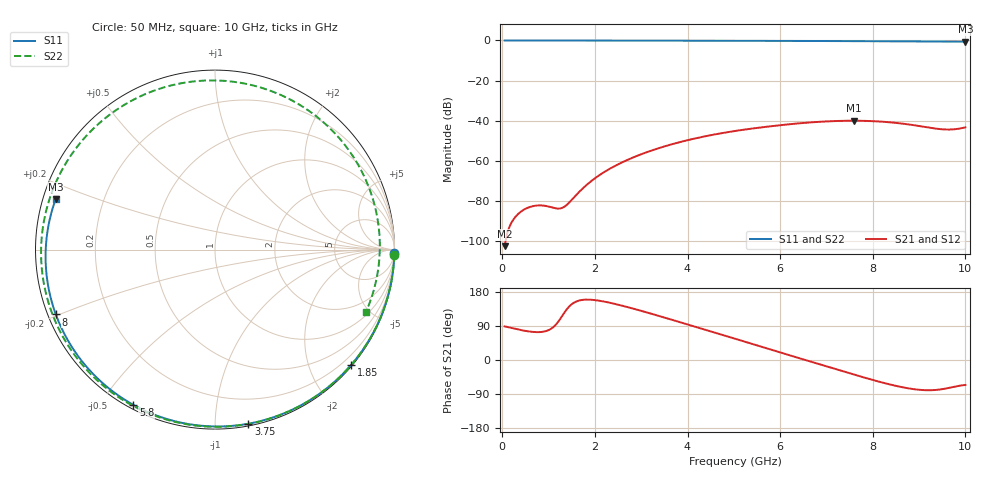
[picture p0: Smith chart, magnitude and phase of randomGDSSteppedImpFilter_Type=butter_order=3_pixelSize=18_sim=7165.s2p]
! freq	dB(S11)	phase(S11)	dB(S12)	phase(S12)
!  dB(S21)	phase(S21)	dB(S22)	phase(S22)
!S-par simulation data
#  GHz  S  DB  R 50
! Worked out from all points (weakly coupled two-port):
!   200 points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, 50 MHz to 10 GHz, reference 50 ohm
!   highest |S21| = -39.96 dB at 7.6 GHz (marker M1); lowest = -102.4 dB at 50 MHz (marker M2)
!   lowest |S11| = -0.6 dB at 10 GHz (marker M3), VSWR 27.98, Z = 1.83 + j7.75 ohm
!   |S11| at or under -10 dB: nowhere
!   |S22| runs from -0.8 to 0.0 dB; largest |S21 - S12| = 0
!   S11 on the Smith chart (normalised r, x): 50 MHz: open; 1.85 GHz: 0.02, -2.72; 3.75 GHz: 0.02, -1.21; 5.8 GHz: 0.02, -0.60; 8 GHz: 0.02, -0.20; 10 GHz: 0.04, +0.15
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0.05  -0.00 -1.1  -102.41 88.7  -102.41 88.7  -0.00 -1.8
0.7  -0.02 -15.5  -82.32 73.8  -82.32 73.8  -0.03 -24.9
1.45  -0.04 -31.8  -80.59 141.9  -80.59 141.9  -0.06 -50.7
1.75  -0.05 -38.2  -73.39 158.9  -73.39 158.9  -0.08 -60.8
1.85  -0.05 -40.4  -71.35 159.4  -71.35 159.4  -0.08 -64.1
2.15  -0.06 -46.7  -66.26 155.3  -66.26 155.3  -0.09 -73.9
2.5  -0.07 -54.0  -61.68 146.0  -61.68 146.0  -0.10 -85.1
3.4  -0.10 -72.2  -53.46 115.6  -53.46 115.6  -0.14 -112.9
3.75  -0.11 -79.1  -51.12 103.0  -51.12 103.0  -0.16 -123.4
4.4  -0.13 -91.7  -47.62 79.1  -47.62 79.1  -0.19 -142.8
5.05  -0.16 -103.9  -44.98 55.3  -44.98 55.3  -0.23 -162.5
5.8  -0.20 -117.7  -42.71 27.5  -42.71 27.5  -0.29 173.8
6.25  -0.23 -125.9  -41.60 10.7  -41.60 10.7  -0.33 158.5
6.7  -0.26 -134.0  -40.72 -5.7  -40.72 -5.7  -0.37 142.2
7.15  -0.30 -142.2  -40.15 -22.2  -40.15 -22.2  -0.42 124.5
7.6  -0.34 -150.4  -39.96 -38.6  -39.96 -38.6  -0.48 105.1
8  -0.38 -157.8  -40.18 -52.7  -40.18 -52.7  -0.52 86.3
8.35  -0.41 -164.4  -40.70 -64.0  -40.70 -64.0  -0.57 68.7
8.75  -0.46 -172.1  -41.73 -74.4  -41.73 -74.4  -0.62 47.4
9.25  -0.52 178.0  -43.51 -79.8  -43.51 -79.8  -0.69 19.5
9.6  -0.57 170.8  -44.35 -74.7  -44.35 -74.7  -0.74 -0.3
10  -0.62 162.4  -43.25 -65.9  -43.25 -65.9  -0.82 -22.5
